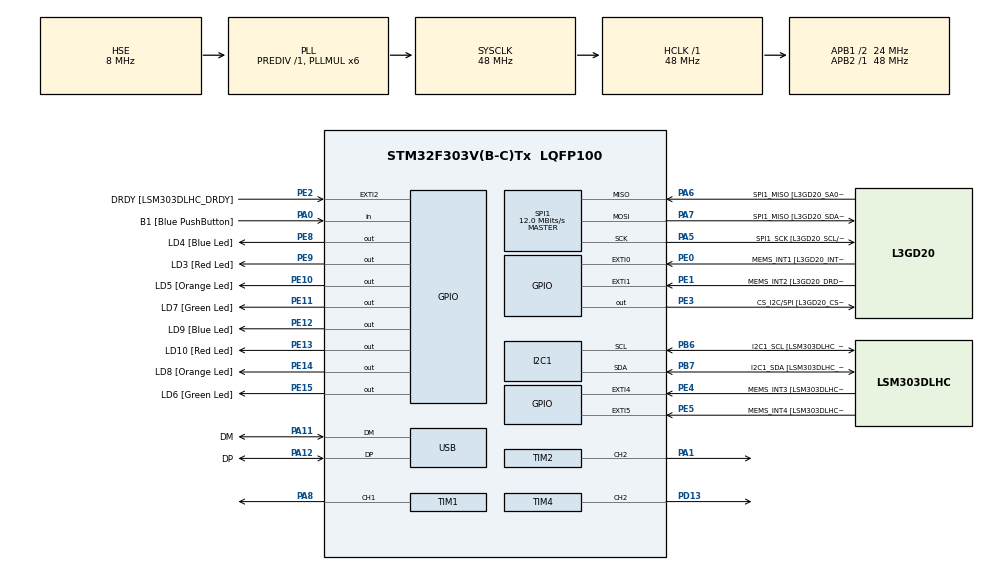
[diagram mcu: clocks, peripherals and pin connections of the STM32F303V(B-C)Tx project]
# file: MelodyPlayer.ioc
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I2C1.Timing-I2C=0x2000090E
Mcu.Family=STM32F3
Mcu.Name=STM32F303V(B-C)Tx
Mcu.Package=LQFP100
NVIC.PriorityGroup=NVIC_PRIORITYGROUP_1
PA0.GPIO_Label=B1 [Blue PushButton]
PA0.Signal=GPIO_Input
PA1.Signal=S_TIM2_CH2
PA11.GPIO_Label=DM
PA11.Mode=Device
PA11.Signal=USB_DM
PA12.GPIO_Label=DP
PA12.Mode=Device
PA12.Signal=USB_DP
PA13.GPIO_Label=SWDIO
PA13.Mode=Serial_Wire
PA13.Signal=SYS_JTMS-SWDIO
PA14.GPIO_Label=SWCLK
PA14.Mode=Serial_Wire
PA14.Signal=SYS_JTCK-SWCLK
PA5.GPIO_Label=SPI1_SCK [L3GD20_SCL/SPC]
PA5.Mode=Full_Duplex_Master
PA5.Signal=SPI1_SCK
PA6.GPIO_Label=SPI1_MISO [L3GD20_SA0/SDO]
PA6.Mode=Full_Duplex_Master
PA6.Signal=SPI1_MISO
PA7.GPIO_Label=SPI1_MISO [L3GD20_SDA/SDI/SDO]
PA7.Mode=Full_Duplex_Master
PA7.Signal=SPI1_MOSI
PA8.Signal=S_TIM1_CH1
PB3.GPIO_Label=SWO
PB3.Signal=SYS_JTDO-TRACESWO
PB6.GPIO_Label=I2C1_SCL [LSM303DLHC_SCL]
PB6.GPIO_Pu=GPIO_PULLUP
PB6.Mode=I2C
PB6.Signal=I2C1_SCL
PB7.GPIO_Label=I2C1_SDA [LSM303DLHC_SDA]
PB7.GPIO_Pu=GPIO_PULLUP
PB7.Mode=I2C
PB7.Signal=I2C1_SDA
PC14-OSC32_IN.GPIO_Label=OSC32_IN
PC14-OSC32_IN.Signal=RCC_OSC32_IN
PC15-OSC32_OUT.GPIO_Label=OSC32_OUT
PC15-OSC32_OUT.Signal=RCC_OSC32_OUT
PD13.Signal=S_TIM4_CH2
PE0.GPIO_Label=MEMS_INT1 [L3GD20_INT1]
PE0.GPIO_ModeDefaultEXTI=GPIO_MODE_EVT_RISING
PE0.Signal=GPXTI0
PE1.GPIO_Label=MEMS_INT2 [L3GD20_DRDY/INT2]
PE1.GPIO_ModeDefaultEXTI=GPIO_MODE_EVT_RISING
PE1.Signal=GPXTI1
PE10.GPIO_Label=LD5 [Orange Led]
PE10.Signal=GPIO_Output
PE11.GPIO_Label=LD7 [Green Led]
PE11.Signal=GPIO_Output
PE12.GPIO_Label=LD9 [Blue Led]
PE12.Signal=GPIO_Output
PE13.GPIO_Label=LD10 [Red Led]
PE13.Signal=GPIO_Output
PE14.GPIO_Label=LD8 [Orange Led]
PE14.Signal=GPIO_Output
PE15.GPIO_Label=LD6 [Green Led]
PE15.Signal=GPIO_Output
PE2.GPIO_Label=DRDY [LSM303DLHC_DRDY]
PE2.GPIO_ModeDefaultEXTI=GPIO_MODE_EVT_RISING
PE2.Signal=GPXTI2
PE3.GPIO_Label=CS_I2C/SPI [L3GD20_CS_I2C/SPI]
PE3.Signal=GPIO_Output
PE4.GPIO_Label=MEMS_INT3 [LSM303DLHC_INT1]
PE4.GPIO_ModeDefaultEXTI=GPIO_MODE_EVT_RISING
PE4.Signal=GPXTI4
PE5.GPIO_Label=MEMS_INT4 [LSM303DLHC_INT2]
PE5.GPIO_ModeDefaultEXTI=GPIO_MODE_EVT_RISING
PE5.Signal=GPXTI5
PE8.GPIO_Label=LD4 [Blue Led]
PE8.Signal=GPIO_Output
PE9.GPIO_Label=LD3 [Red Led]
PE9.Signal=GPIO_Output
PF0-OSC_IN.GPIO_Label=OSC_IN
PF0-OSC_IN.Mode=HSE-External-Clock-Source
PF0-OSC_IN.Signal=RCC_OSC_IN
PF1-OSC_OUT.GPIO_Label=OSC_OUT
PF1-OSC_OUT.Signal=RCC_OSC_OUT
ProjectManager.HeapSize=0x200
ProjectManager.StackSize=0x400
ProjectManager.TargetToolchain=STM32CubeIDE
RCC.AHBFreq_Value=48000000
RCC.APB1CLKDivider=RCC_HCLK_DIV2
RCC.APB1Freq_Value=24000000
RCC.APB1TimFreq_Value=48000000
RCC.APB2Freq_Value=48000000
RCC.APB2TimFreq_Value=48000000
RCC.CortexFreq_Value=48000000
RCC.HCLKFreq_Value=48000000
RCC.HSE_VALUE=8000000
RCC.HSI_VALUE=8000000
RCC.LSE_VALUE=32768
RCC.PLLMUL=RCC_PLL_MUL6
RCC.SYSCLKFreq_VALUE=48000000
RCC.SYSCLKSourceVirtual=RCC_SYSCLKSOURCE_PLLCLK
RCC.USBFreq_Value=48000000
SH.S_TIM1_CH1.0=TIM1_CH1,PWM Generation1 CH1
SH.S_TIM2_CH2.0=TIM2_CH2,PWM Generation2 CH2
SH.S_TIM4_CH2.0=TIM4_CH2,PWM Generation2 CH2
SPI1.BaudRatePrescaler=SPI_BAUDRATEPRESCALER_4
SPI1.BaudRatePrescaler-Full_Duplex_Master=SPI_BAUDRATEPRESCALER_2
SPI1.CalculateBaudRate=12.0 MBits/s
SPI1.CalculateBaudRate-Full_Duplex_Master=24.0 MBits/s
SPI1.Direction=SPI_DIRECTION_2LINES
SPI1.Mode=SPI_MODE_MASTER
SPI1.Mode-Full_Duplex_Master=SPI_MODE_MASTER
SPI1.VirtualType=VM_MASTER
TIM1.Channel-PWM\ Generation1\ CH1=TIM_CHANNEL_1
TIM2.Channel-PWM\ Generation2\ CH2=TIM_CHANNEL_2
TIM4.Channel-PWM\ Generation2\ CH2=TIM_CHANNEL_2
VP_TIM1_VS_ClockSourceINT.Mode=Internal
VP_TIM2_VS_ClockSourceINT.Mode=Internal
VP_TIM4_VS_ClockSourceINT.Mode=Internal
board=STM32F3DISCOVERY

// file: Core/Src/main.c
/* USER CODE BEGIN Header */
/**
  ******************************************************************************
  * @file           : main.c
  * @brief          : Main program body
  ******************************************************************************
  * @attention
  *
  * Copyright (c) 2022 STMicroelectronics.
  * All rights reserved.
  *
  * This software is licensed under terms that can be found in the LICENSE file
  * in the root directory of this software component.
  * If no LICENSE file comes with this software, it is provided AS-IS.
  *
  ******************************************************************************
  */
/* USER CODE END Header */
#include "main.h"

I2C_HandleTypeDef hi2c1;

SPI_HandleTypeDef hspi1;

TIM_HandleTypeDef htim1;
TIM_HandleTypeDef htim2;
TIM_HandleTypeDef htim4;

PCD_HandleTypeDef hpcd_USB_FS;

void SystemClock_Config(void);
static void MX_GPIO_Init(void);
static void MX_I2C1_Init(void);
static void MX_SPI1_Init(void);
static void MX_USB_PCD_Init(void);
static void MX_TIM2_Init(void);
static void MX_TIM4_Init(void);
static void MX_TIM1_Init(void);

/* USER CODE BEGIN 0 */

TIM_HandleTypeDef *pwm_buzzer_timer = &htim1; // point to buzzer timer
uint16_t pwm_buzzer_channel = TIM_CHANNEL_1; // channel which timer works on.
uint16_t current_volume = 0; // between 0 - 100

// start PWM timer
void pwm_start() {
//	HAL_TIM_Base_Start_IT(pwm_buzzer_timer);
	HAL_TIM_PWM_Start(pwm_buzzer_timer, pwm_buzzer_channel);
}

void pwm_change_volume(uint16_t volume) {
	if (volume >= 0 || volume <= 100) {
		current_volume = volume;
	}
}

// This function help us to change the note of melodies with specific volume
void pwm_change_tone(uint16_t frequency, uint16_t volume) {
	// frequency between 1 - 20000
	// volume between 0 - 100
	if (frequency > 20000 || frequency < 1) { // stop buzzer if the freq is not in allowed bound
		__HAL_TIM_SET_COMPARE(pwm_buzzer_timer, pwm_buzzer_channel, 0);
	} else {
		const uint16_t internal_clock_freq = HAL_RCC_GetSysClockFreq(); // get sys clock
		const uint16_t prescaler = 1 + internal_clock_freq / frequency / 60000;
		const uint16_t timer_clock = internal_clock_freq / prescaler;
		const uint16_t period_cycle = timer_clock / frequency;
		const uint16_t pulse_width = volume * period_cycle / 1000 / 2;

		pwm_buzzer_timer->Instance->PSC = prescaler - 1;
		pwm_buzzer_timer->Instance->ARR = period_cycle - 1;
		pwm_buzzer_timer->Instance->EGR = TIM_EGR_UG;
//		pwm_buzzer_timer->Instance->CCR2 = pulse_width;
		__HAL_TIM_SET_COMPARE(pwm_buzzer_timer, pwm_buzzer_channel, pulse_width);
	}
}

/* USER CODE END 0 */

int main(void)
{

  /* MCU Configuration--------------------------------------------------------*/

  /* Reset of all peripherals, Initializes the Flash interface and the Systick. */
  HAL_Init();

  /* Configure the system clock */
  SystemClock_Config();

  /* Initialize all configured peripherals */
  MX_GPIO_Init();
  MX_I2C1_Init();
  MX_SPI1_Init();
  MX_USB_PCD_Init();
  MX_TIM2_Init();
  MX_TIM4_Init();
  MX_TIM1_Init();
  /* USER CODE BEGIN 2 */

  HAL_TIM_PWM_Start(&htim1, TIM_CHANNEL_1);
	  pwm_change_tone(1000, 1000);
  /* USER CODE END 2 */

  /* Infinite loop */
  while (1)
  {

    /* USER CODE BEGIN 3 */
//	  HAL_Delay(500);
  }
  /* USER CODE END 3 */
}

void SystemClock_Config(void)
{
  RCC_OscInitTypeDef RCC_OscInitStruct = {0};
  RCC_ClkInitTypeDef RCC_ClkInitStruct = {0};
  RCC_PeriphCLKInitTypeDef PeriphClkInit = {0};

  /** Initializes the RCC Oscillators according to the specified parameters
  * in the RCC_OscInitTypeDef structure.
  */
  RCC_OscInitStruct.OscillatorType = RCC_OSCILLATORTYPE_HSI|RCC_OSCILLATORTYPE_HSE;
  RCC_OscInitStruct.HSEState = RCC_HSE_BYPASS;
  RCC_OscInitStruct.HSEPredivValue = RCC_HSE_PREDIV_DIV1;
  RCC_OscInitStruct.HSIState = RCC_HSI_ON;
  RCC_OscInitStruct.HSICalibrationValue = RCC_HSICALIBRATION_DEFAULT;
  RCC_OscInitStruct.PLL.PLLState = RCC_PLL_ON;
  RCC_OscInitStruct.PLL.PLLSource = RCC_PLLSOURCE_HSE;
  RCC_OscInitStruct.PLL.PLLMUL = RCC_PLL_MUL6;
  if (HAL_RCC_OscConfig(&RCC_OscInitStruct) != HAL_OK)
  {
    Error_Handler();
  }

  /** Initializes the CPU, AHB and APB buses clocks
  */
  RCC_ClkInitStruct.ClockType = RCC_CLOCKTYPE_HCLK|RCC_CLOCKTYPE_SYSCLK
                              |RCC_CLOCKTYPE_PCLK1|RCC_CLOCKTYPE_PCLK2;
  RCC_ClkInitStruct.SYSCLKSource = RCC_SYSCLKSOURCE_PLLCLK;
  RCC_ClkInitStruct.AHBCLKDivider = RCC_SYSCLK_DIV1;
  RCC_ClkInitStruct.APB1CLKDivider = RCC_HCLK_DIV2;
  RCC_ClkInitStruct.APB2CLKDivider = RCC_HCLK_DIV1;

  if (HAL_RCC_ClockConfig(&RCC_ClkInitStruct, FLASH_LATENCY_1) != HAL_OK)
  {
    Error_Handler();
  }
  PeriphClkInit.PeriphClockSelection = RCC_PERIPHCLK_USB|RCC_PERIPHCLK_I2C1
                              |RCC_PERIPHCLK_TIM1;
  PeriphClkInit.I2c1ClockSelection = RCC_I2C1CLKSOURCE_HSI;
  PeriphClkInit.USBClockSelection = RCC_USBCLKSOURCE_PLL;
  PeriphClkInit.Tim1ClockSelection = RCC_TIM1CLK_HCLK;
  if (HAL_RCCEx_PeriphCLKConfig(&PeriphClkInit) != HAL_OK)
  {
    Error_Handler();
  }
}

static void MX_I2C1_Init(void)
{

  hi2c1.Instance = I2C1;
  hi2c1.Init.Timing = 0x2000090E;
  hi2c1.Init.OwnAddress1 = 0;
  hi2c1.Init.AddressingMode = I2C_ADDRESSINGMODE_7BIT;
  hi2c1.Init.DualAddressMode = I2C_DUALADDRESS_DISABLE;
  hi2c1.Init.OwnAddress2 = 0;
  hi2c1.Init.OwnAddress2Masks = I2C_OA2_NOMASK;
  hi2c1.Init.GeneralCallMode = I2C_GENERALCALL_DISABLE;
  hi2c1.Init.NoStretchMode = I2C_NOSTRETCH_DISABLE;
  if (HAL_I2C_Init(&hi2c1) != HAL_OK)
  {
    Error_Handler();
  }

  /** Configure Analogue filter
  */
  if (HAL_I2CEx_ConfigAnalogFilter(&hi2c1, I2C_ANALOGFILTER_ENABLE) != HAL_OK)
  {
    Error_Handler();
  }

  /** Configure Digital filter
  */
  if (HAL_I2CEx_ConfigDigitalFilter(&hi2c1, 0) != HAL_OK)
  {
    Error_Handler();
  }

}

static void MX_SPI1_Init(void)
{

  /* SPI1 parameter configuration*/
  hspi1.Instance = SPI1;
  hspi1.Init.Mode = SPI_MODE_MASTER;
  hspi1.Init.Direction = SPI_DIRECTION_2LINES;
  hspi1.Init.DataSize = SPI_DATASIZE_4BIT;
  hspi1.Init.CLKPolarity = SPI_POLARITY_LOW;
  hspi1.Init.CLKPhase = SPI_PHASE_1EDGE;
  hspi1.Init.NSS = SPI_NSS_SOFT;
  hspi1.Init.BaudRatePrescaler = SPI_BAUDRATEPRESCALER_4;
  hspi1.Init.FirstBit = SPI_FIRSTBIT_MSB;
  hspi1.Init.TIMode = SPI_TIMODE_DISABLE;
  hspi1.Init.CRCCalculation = SPI_CRCCALCULATION_DISABLE;
  hspi1.Init.CRCPolynomial = 7;
  hspi1.Init.CRCLength = SPI_CRC_LENGTH_DATASIZE;
  hspi1.Init.NSSPMode = SPI_NSS_PULSE_ENABLE;
  if (HAL_SPI_Init(&hspi1) != HAL_OK)
  {
    Error_Handler();
  }

}

static void MX_TIM1_Init(void)
{

  TIM_ClockConfigTypeDef sClockSourceConfig = {0};
  TIM_MasterConfigTypeDef sMasterConfig = {0};
  TIM_OC_InitTypeDef sConfigOC = {0};
  TIM_BreakDeadTimeConfigTypeDef sBreakDeadTimeConfig = {0};

  htim1.Instance = TIM1;
  htim1.Init.Prescaler = 0;
  htim1.Init.CounterMode = TIM_COUNTERMODE_UP;
  htim1.Init.Period = 65535;
  htim1.Init.ClockDivision = TIM_CLOCKDIVISION_DIV1;
  htim1.Init.RepetitionCounter = 0;
  htim1.Init.AutoReloadPreload = TIM_AUTORELOAD_PRELOAD_DISABLE;
  if (HAL_TIM_Base_Init(&htim1) != HAL_OK)
  {
    Error_Handler();
  }
  sClockSourceConfig.ClockSource = TIM_CLOCKSOURCE_INTERNAL;
  if (HAL_TIM_ConfigClockSource(&htim1, &sClockSourceConfig) != HAL_OK)
  {
    Error_Handler();
  }
  if (HAL_TIM_PWM_Init(&htim1) != HAL_OK)
  {
    Error_Handler();
  }
  sMasterConfig.MasterOutputTrigger = TIM_TRGO_RESET;
  sMasterConfig.MasterOutputTrigger2 = TIM_TRGO2_RESET;
  sMasterConfig.MasterSlaveMode = TIM_MASTERSLAVEMODE_DISABLE;
  if (HAL_TIMEx_MasterConfigSynchronization(&htim1, &sMasterConfig) != HAL_OK)
  {
    Error_Handler();
  }
  sConfigOC.OCMode = TIM_OCMODE_PWM1;
  sConfigOC.Pulse = 0;
  sConfigOC.OCPolarity = TIM_OCPOLARITY_HIGH;
  sConfigOC.OCNPolarity = TIM_OCNPOLARITY_HIGH;
  sConfigOC.OCFastMode = TIM_OCFAST_DISABLE;
  sConfigOC.OCIdleState = TIM_OCIDLESTATE_RESET;
  sConfigOC.OCNIdleState = TIM_OCNIDLESTATE_RESET;
  if (HAL_TIM_PWM_ConfigChannel(&htim1, &sConfigOC, TIM_CHANNEL_1) != HAL_OK)
  {
    Error_Handler();
  }
  sBreakDeadTimeConfig.OffStateRunMode = TIM_OSSR_DISABLE;
  sBreakDeadTimeConfig.OffStateIDLEMode = TIM_OSSI_DISABLE;
  sBreakDeadTimeConfig.LockLevel = TIM_LOCKLEVEL_OFF;
  sBreakDeadTimeConfig.DeadTime = 0;
  sBreakDeadTimeConfig.BreakState = TIM_BREAK_DISABLE;
  sBreakDeadTimeConfig.BreakPolarity = TIM_BREAKPOLARITY_HIGH;
  sBreakDeadTimeConfig.BreakFilter = 0;
  sBreakDeadTimeConfig.Break2State = TIM_BREAK2_DISABLE;
  sBreakDeadTimeConfig.Break2Polarity = TIM_BREAK2POLARITY_HIGH;
  sBreakDeadTimeConfig.Break2Filter = 0;
  sBreakDeadTimeConfig.AutomaticOutput = TIM_AUTOMATICOUTPUT_DISABLE;
  if (HAL_TIMEx_ConfigBreakDeadTime(&htim1, &sBreakDeadTimeConfig) != HAL_OK)
  {
    Error_Handler();
  }
  HAL_TIM_MspPostInit(&htim1);

}

static void MX_TIM2_Init(void)
{

  TIM_ClockConfigTypeDef sClockSourceConfig = {0};
  TIM_MasterConfigTypeDef sMasterConfig = {0};
  TIM_OC_InitTypeDef sConfigOC = {0};

  htim2.Instance = TIM2;
  htim2.Init.Prescaler = 0;
  htim2.Init.CounterMode = TIM_COUNTERMODE_UP;
  htim2.Init.Period = 4294967295;
  htim2.Init.ClockDivision = TIM_CLOCKDIVISION_DIV1;
  htim2.Init.AutoReloadPreload = TIM_AUTORELOAD_PRELOAD_DISABLE;
  if (HAL_TIM_Base_Init(&htim2) != HAL_OK)
  {
    Error_Handler();
  }
  sClockSourceConfig.ClockSource = TIM_CLOCKSOURCE_INTERNAL;
  if (HAL_TIM_ConfigClockSource(&htim2, &sClockSourceConfig) != HAL_OK)
  {
    Error_Handler();
  }
  if (HAL_TIM_PWM_Init(&htim2) != HAL_OK)
  {
    Error_Handler();
  }
  sMasterConfig.MasterOutputTrigger = TIM_TRGO_RESET;
  sMasterConfig.MasterSlaveMode = TIM_MASTERSLAVEMODE_DISABLE;
  if (HAL_TIMEx_MasterConfigSynchronization(&htim2, &sMasterConfig) != HAL_OK)
  {
    Error_Handler();
  }
  sConfigOC.OCMode = TIM_OCMODE_PWM1;
  sConfigOC.Pulse = 0;
  sConfigOC.OCPolarity = TIM_OCPOLARITY_HIGH;
  sConfigOC.OCFastMode = TIM_OCFAST_DISABLE;
  if (HAL_TIM_PWM_ConfigChannel(&htim2, &sConfigOC, TIM_CHANNEL_2) != HAL_OK)
  {
    Error_Handler();
  }
  HAL_TIM_MspPostInit(&htim2);

}

static void MX_TIM4_Init(void)
{

  TIM_ClockConfigTypeDef sClockSourceConfig = {0};
  TIM_MasterConfigTypeDef sMasterConfig = {0};
  TIM_OC_InitTypeDef sConfigOC = {0};

  htim4.Instance = TIM4;
  htim4.Init.Prescaler = 0;
  htim4.Init.CounterMode = TIM_COUNTERMODE_UP;
  htim4.Init.Period = 65535;
  htim4.Init.ClockDivision = TIM_CLOCKDIVISION_DIV1;
  htim4.Init.AutoReloadPreload = TIM_AUTORELOAD_PRELOAD_DISABLE;
  if (HAL_TIM_Base_Init(&htim4) != HAL_OK)
  {
    Error_Handler();
  }
  sClockSourceConfig.ClockSource = TIM_CLOCKSOURCE_INTERNAL;
  if (HAL_TIM_ConfigClockSource(&htim4, &sClockSourceConfig) != HAL_OK)
  {
    Error_Handler();
  }
  if (HAL_TIM_PWM_Init(&htim4) != HAL_OK)
  {
    Error_Handler();
  }
  sMasterConfig.MasterOutputTrigger = TIM_TRGO_RESET;
  sMasterConfig.MasterSlaveMode = TIM_MASTERSLAVEMODE_DISABLE;
  if (HAL_TIMEx_MasterConfigSynchronization(&htim4, &sMasterConfig) != HAL_OK)
  {
    Error_Handler();
  }
  sConfigOC.OCMode = TIM_OCMODE_PWM1;
  sConfigOC.Pulse = 0;
  sConfigOC.OCPolarity = TIM_OCPOLARITY_HIGH;
  sConfigOC.OCFastMode = TIM_OCFAST_DISABLE;
  if (HAL_TIM_PWM_ConfigChannel(&htim4, &sConfigOC, TIM_CHANNEL_2) != HAL_OK)
  {
    Error_Handler();
  }
  HAL_TIM_MspPostInit(&htim4);

}

static void MX_USB_PCD_Init(void)
{

  hpcd_USB_FS.Instance = USB;
  hpcd_USB_FS.Init.dev_endpoints = 8;
  hpcd_USB_FS.Init.speed = PCD_SPEED_FULL;
  hpcd_USB_FS.Init.phy_itface = PCD_PHY_EMBEDDED;
  hpcd_USB_FS.Init.low_power_enable = DISABLE;
  hpcd_USB_FS.Init.battery_charging_enable = DISABLE;
  if (HAL_PCD_Init(&hpcd_USB_FS) != HAL_OK)
  {
    Error_Handler();
  }

}

static void MX_GPIO_Init(void)
{
  GPIO_InitTypeDef GPIO_InitStruct = {0};

  /* GPIO Ports Clock Enable */
  __HAL_RCC_GPIOE_CLK_ENABLE();
  __HAL_RCC_GPIOC_CLK_ENABLE();
  __HAL_RCC_GPIOF_CLK_ENABLE();
  __HAL_RCC_GPIOA_CLK_ENABLE();
  __HAL_RCC_GPIOD_CLK_ENABLE();
  __HAL_RCC_GPIOB_CLK_ENABLE();

  /*Configure GPIO pin Output Level */
  HAL_GPIO_WritePin(GPIOE, CS_I2C_SPI_Pin|LD4_Pin|LD3_Pin|LD5_Pin
                          |LD7_Pin|LD9_Pin|LD10_Pin|LD8_Pin
                          |LD6_Pin, GPIO_PIN_RESET);

  /*Configure GPIO pins : DRDY_Pin MEMS_INT3_Pin MEMS_INT4_Pin MEMS_INT1_Pin
                           MEMS_INT2_Pin */
  GPIO_InitStruct.Pin = DRDY_Pin|MEMS_INT3_Pin|MEMS_INT4_Pin|MEMS_INT1_Pin
                          |MEMS_INT2_Pin;
  GPIO_InitStruct.Mode = GPIO_MODE_EVT_RISING;
  GPIO_InitStruct.Pull = GPIO_NOPULL;
  HAL_GPIO_Init(GPIOE, &GPIO_InitStruct);

  /*Configure GPIO pins : CS_I2C_SPI_Pin LD4_Pin LD3_Pin LD5_Pin
                           LD7_Pin LD9_Pin LD10_Pin LD8_Pin
                           LD6_Pin */
  GPIO_InitStruct.Pin = CS_I2C_SPI_Pin|LD4_Pin|LD3_Pin|LD5_Pin
                          |LD7_Pin|LD9_Pin|LD10_Pin|LD8_Pin
                          |LD6_Pin;
  GPIO_InitStruct.Mode = GPIO_MODE_OUTPUT_PP;
  GPIO_InitStruct.Pull = GPIO_NOPULL;
  GPIO_InitStruct.Speed = GPIO_SPEED_FREQ_LOW;
  HAL_GPIO_Init(GPIOE, &GPIO_InitStruct);

  /*Configure GPIO pin : B1_Pin */
  GPIO_InitStruct.Pin = B1_Pin;
  GPIO_InitStruct.Mode = GPIO_MODE_INPUT;
  GPIO_InitStruct.Pull = GPIO_NOPULL;
  HAL_GPIO_Init(B1_GPIO_Port, &GPIO_InitStruct);

}

void Error_Handler(void)
{
  __disable_irq();
  while (1)
  {
  }
}
